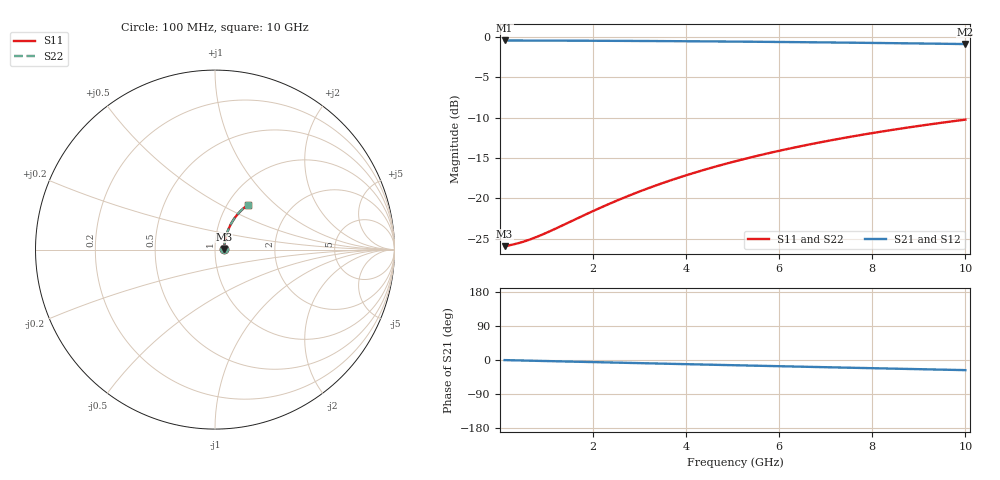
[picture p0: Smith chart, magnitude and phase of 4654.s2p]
# Hz S RI R 50.00
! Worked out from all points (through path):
!   100 points, 100 MHz to 10 GHz, reference 50 ohm
!   highest |S21| = -0.45 dB at 100 MHz (marker M1); lowest = -0.9 dB at 10 GHz (marker M2)
!   group delay of S21, straight-line fit = 7.44 ps
!   lowest |S11| = -25.9 dB at 100 MHz (marker M3), VSWR 1.11, Z = 55.3 + j0.334 ohm
!   |S11| at or under -10 dB: start of sweep to end of sweep
!   |S22| runs from -25.9 to -10.3 dB; largest |S21 - S12| = 0
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1e8  0.0505 0.00301  0.9495 -0.00459  0.9495 -0.00459  0.0505 0.00301
3e8  0.0511 0.00903  0.9488 -0.0137  0.9488 -0.0137  0.0511 0.00903
4e8  0.0514 0.012  0.9485 -0.0183  0.9485 -0.0183  0.0514 0.012
5e8  0.0517 0.015  0.9482 -0.0229  0.9482 -0.0229  0.0517 0.015
7e8  0.0523 0.021  0.9476 -0.032  0.9476 -0.032  0.0523 0.021
9e8  0.053 0.027  0.9469 -0.0411  0.9469 -0.0411  0.053 0.027
1.1e9  0.0538 0.0329  0.9461 -0.0502  0.9461 -0.0502  0.0538 0.0329
1.8e9  0.0572 0.0536  0.9423 -0.0819  0.9423 -0.0819  0.0572 0.0536
2.2e9  0.0597 0.0653  0.9396 -0.0999  0.9396 -0.0999  0.0597 0.0653
2.6e9  0.0627 0.0769  0.9364 -0.1178  0.9364 -0.1178  0.0627 0.0769
3e9  0.0661 0.0883  0.9328 -0.1355  0.9328 -0.1355  0.0661 0.0883
3.4e9  0.0698 0.0995  0.9287 -0.153  0.9287 -0.153  0.0698 0.0995
3.8e9  0.074 0.1106  0.9241 -0.1704  0.9241 -0.1704  0.074 0.1106
4.2e9  0.0786 0.1214  0.9191 -0.1875  0.9191 -0.1875  0.0786 0.1214
4.6e9  0.0835 0.1321  0.9137 -0.2045  0.9137 -0.2045  0.0835 0.1321
5.1e9  0.0903 0.145  0.9064 -0.2253  0.9064 -0.2253  0.0903 0.145
5.9e9  0.1022 0.165  0.8933 -0.2579  0.8933 -0.2579  0.1022 0.165
6.7e9  0.1155 0.1838  0.8787 -0.2893  0.8787 -0.2893  0.1155 0.1838
7.5e9  0.1299 0.2013  0.8628 -0.3196  0.8628 -0.3196  0.1299 0.2013
8.4e9  0.1475 0.2196  0.8434 -0.3521  0.8434 -0.3521  0.1475 0.2196
9.2e9  0.1641 0.2343  0.825 -0.3796  0.825 -0.3796  0.1641 0.2343
1e10  0.1814 0.2477  0.8056 -0.4057  0.8056 -0.4057  0.1814 0.2477
